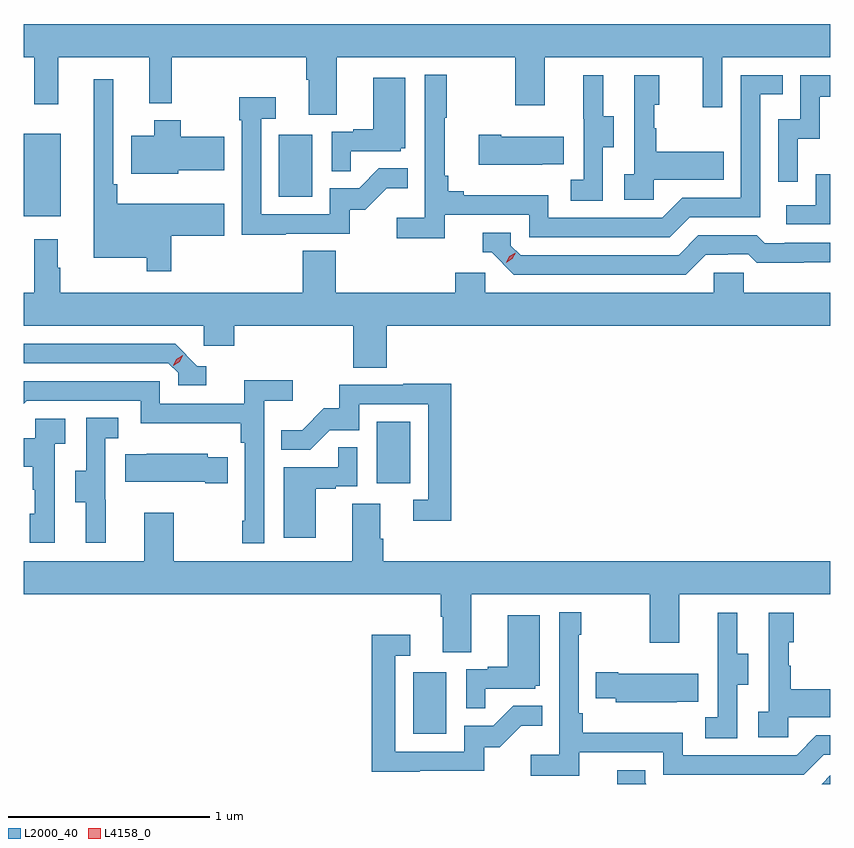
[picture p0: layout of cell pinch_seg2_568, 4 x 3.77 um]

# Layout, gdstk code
import gdstk
lib = gdstk.Library(unit=1e-6, precision=1e-09)
def R(c, l, rs):  # rectangles x0, y0, x1, y1
    for r in rs: c.add(gdstk.rectangle(r[:2], r[2:], *l))
def P(c, l, *ps):  # polygons
    for p in ps: c.add(gdstk.Polygon(p, *l))
L2000_40 = (2000, 40)
L4158_0 = (4158, 0)

pinch_seg2_568 = lib.new_cell('pinch_seg2_568')
R(pinch_seg2_568, L2000_40, [(1130.132,621.636,1130.296,621.943), (1129.952,622.878,1130.116,623.185), (1128.2,624.203,1128.385,624.613), (1129.466,624.3,1129.63,624.607)])
P(pinch_seg2_568, L2000_40, [(1129.753,624.992),(1130.638,624.992),(1130.638,624.753),(1130.785,624.753),(1130.785,624.992),(1131.566,624.992),(1131.566,624.744),(1131.663,624.744),(1131.663,624.992),(1132.2,624.992),(1132.2,625.156),(1128.2,625.156),(1128.2,624.992),(1128.253,624.992),(1128.253,624.759),(1128.371,624.759),(1128.371,624.992),(1128.824,624.992),(1128.824,624.764),(1128.934,624.764),(1128.934,624.992),(1129.601,624.992),(1129.601,624.88),(1129.613,624.88),(1129.613,624.706),(1129.753,624.706)],
  [(1130.288,624.21),(1130.706,624.21),(1130.706,624.099),(1131.403,624.099),(1131.502,624.198),(1131.852,624.198),(1131.852,624.807),(1131.965,624.807),(1131.965,624.903),(1131.756,624.903),(1131.756,624.294),(1131.465,624.294),(1131.366,624.195),(1130.802,624.195),(1130.802,624.307),(1130.383,624.307),(1130.383,624.326),(1130.306,624.326),(1130.306,624.403),(1130.287,624.403),(1130.287,624.691),(1130.299,624.691),(1130.299,624.904),(1130.19,624.904),(1130.19,624.196),(1130.049,624.196),(1130.049,624.094),(1130.288,624.094)],
  [(1132.038,624.587),(1132.148,624.587),(1132.148,624.795),(1132.2,624.795),(1132.2,624.903),(1132.05,624.903),(1132.05,624.684),(1131.942,624.684),(1131.942,624.375),(1132.038,624.375)],
  [(1131.072,624.544),(1131.127,624.544),(1131.127,624.699),(1131.073,624.699),(1131.073,624.901),(1130.975,624.901),(1130.975,624.687),(1130.976,624.687),(1130.976,624.383),(1130.913,624.383),(1130.913,624.28),(1131.072,624.28)],
  [(1131.324,624.383),(1131.671,624.383),(1131.671,624.523),(1131.337,624.523),(1131.337,624.638),(1131.327,624.638),(1131.327,624.756),(1131.352,624.756),(1131.352,624.901),(1131.228,624.901),(1131.228,624.41),(1131.177,624.41),(1131.177,624.285),(1131.324,624.285)],
  [(1129.823,624.525),(1130.07,624.525),(1130.07,624.54),(1130.092,624.54),(1130.092,624.889),(1129.934,624.889),(1129.934,624.634),(1129.835,624.634),(1129.835,624.621),(1129.728,624.621),(1129.728,624.427),(1129.823,624.427)],
  [(1128.931,624.107),(1129.195,624.107),(1129.195,624.265),(1128.665,624.265),(1128.665,624.361),(1128.645,624.361),(1128.645,624.883),(1128.548,624.883),(1128.548,623.996),(1128.81,623.996),(1128.81,623.931),(1128.931,623.931)],
  [(1129.499,624.117),(1129.818,624.117),(1129.818,624.234),(1129.894,624.234),(1130.001,624.341),(1130.105,624.341),(1130.105,624.44),(1129.961,624.44),(1129.863,624.342),(1129.719,624.342),(1129.719,624.213),(1129.377,624.213),(1129.377,624.687),(1129.45,624.687),(1129.45,624.793),(1129.269,624.793),(1129.269,624.68),(1129.281,624.68),(1129.281,624.112),(1129.499,624.112)],
  [(1128.966,624.431),(1129.195,624.431),(1129.195,624.597),(1128.978,624.597),(1128.978,624.679),(1128.848,624.679),(1128.848,624.601),(1128.734,624.601),(1128.734,624.413),(1128.966,624.413)],
  [(1130.771,624.461),(1130.879,624.461),(1130.879,624.598),(1130.569,624.598),(1130.569,624.606),(1130.457,624.606),(1130.457,624.458),(1130.771,624.458)],
  [(1132.2,624.412),(1132.128,624.412),(1132.128,624.258),(1131.981,624.258),(1131.981,624.162),(1132.2,624.162)],
  [(1131.583,624.012),(1131.69,624.012),(1131.69,624.015),(1131.793,624.015),(1131.835,623.973),(1132.068,623.973),(1132.068,623.975),(1132.2,623.975),(1132.2,624.072),(1131.973,624.072),(1131.973,624.069),(1131.874,624.069),(1131.835,624.108),(1131.546,624.108),(1131.447,624.009),(1130.664,624.009),(1130.616,624.057),(1130.616,624.12),(1130.477,624.12),(1130.477,624.024),(1130.52,624.024),(1130.631,623.913),(1131.484,623.913)],
  [(1130,623.66),(1132.2,623.66),(1132.2,623.824),(1131.771,623.824),(1131.771,623.922),(1131.621,623.922),(1131.621,623.824),(1130.49,623.824),(1130.49,623.922),(1130.339,623.922),(1130.339,623.824),(1129.748,623.824),(1129.748,624.032),(1129.583,624.032),(1129.583,623.824),(1128.382,623.824),(1128.382,623.948),(1128.37,623.948),(1128.37,624.088),(1128.253,624.088),(1128.253,623.824),(1128.2,623.824),(1128.2,623.66),(1129.092,623.66),(1129.092,623.562),(1129.244,623.562),(1129.244,623.66),(1129.835,623.66),(1129.835,623.452),(1130,623.452)],
  [(1129.105,623.46),(1129.062,623.46),(1128.951,623.571),(1128.2,623.571),(1128.2,623.475),(1128.918,623.475),(1128.966,623.427),(1128.966,623.364),(1129.105,623.364)],
  [(1129.392,623.288),(1129.534,623.288),(1129.534,623.39),(1129.295,623.39),(1129.295,623.274),(1128.876,623.274),(1128.876,623.385),(1128.2,623.385),(1128.2,623.273),(1128.216,623.289),(1128.78,623.289),(1128.78,623.177),(1129.276,623.177),(1129.276,623.081),(1129.296,623.081),(1129.296,622.693),(1129.284,622.693),(1129.284,622.581),(1129.392,622.581)],
  [(1130.321,623.372),(1130.083,623.372),(1130.083,623.367),(1129.765,623.367),(1129.765,623.25),(1129.688,623.25),(1129.581,623.143),(1129.477,623.143),(1129.477,623.044),(1129.621,623.044),(1129.719,623.142),(1129.863,623.142),(1129.863,623.271),(1130.205,623.271),(1130.205,622.797),(1130.133,622.797),(1130.133,622.692),(1130.321,622.692)],
  [(1128.608,622.797),(1128.606,622.797),(1128.606,623.101),(1128.67,623.101),(1128.67,623.204),(1128.51,623.204),(1128.51,622.941),(1128.455,622.941),(1128.455,622.786),(1128.509,622.786),(1128.509,622.584),(1128.608,622.584)],
  [(1128.354,623.075),(1128.406,623.075),(1128.406,623.199),(1128.258,623.199),(1128.258,623.101),(1128.2,623.101),(1128.2,622.961),(1128.246,622.961),(1128.246,622.847),(1128.256,622.847),(1128.256,622.728),(1128.23,622.728),(1128.23,622.584),(1128.354,622.584)],
  [(1129.648,622.851),(1129.748,622.851),(1129.748,622.863),(1129.854,622.863),(1129.854,623.057),(1129.759,623.057),(1129.759,622.959),(1129.49,622.959),(1129.49,622.608),(1129.648,622.608)],
  [(1129.211,623.008),(1129.113,623.008),(1129.113,623.026),(1128.811,623.026),(1128.811,623.023),(1128.703,623.023),(1128.703,622.886),(1129.1,622.886),(1129.1,622.879),(1129.211,622.879)],
  [(1130.419,622.328),(1131.304,622.328),(1131.304,622.089),(1131.451,622.089),(1131.451,622.328),(1132.2,622.328),(1132.2,622.492),(1129.982,622.492),(1129.982,622.604),(1129.969,622.604),(1129.969,622.778),(1129.829,622.778),(1129.829,622.492),(1128.945,622.492),(1128.945,622.732),(1128.797,622.732),(1128.797,622.492),(1128.2,622.492),(1128.2,622.328),(1130.267,622.328),(1130.267,622.216),(1130.279,622.216),(1130.279,622.042),(1130.419,622.042)],
  [(1130.954,621.546),(1131.372,621.546),(1131.372,621.435),(1132.069,621.435),(1132.168,621.534),(1132.2,621.534),(1132.2,621.63),(1132.131,621.63),(1132.032,621.531),(1131.468,621.531),(1131.468,621.643),(1130.972,621.643),(1130.972,621.739),(1130.952,621.739),(1130.952,622.127),(1130.965,622.127),(1130.965,622.24),(1130.856,622.24),(1130.856,621.532),(1130.715,621.532),(1130.715,621.43),(1130.954,621.43)],
  [(1131.738,621.88),(1131.793,621.88),(1131.793,622.035),(1131.739,622.035),(1131.739,622.237),(1131.641,622.237),(1131.641,622.023),(1131.642,622.023),(1131.642,621.719),(1131.579,621.719),(1131.579,621.616),(1131.738,621.616)],
  [(1131.99,621.719),(1132.2,621.719),(1132.2,621.859),(1132.003,621.859),(1132.003,621.974),(1131.993,621.974),(1131.993,622.092),(1132.018,622.092),(1132.018,622.237),(1131.894,622.237),(1131.894,621.746),(1131.843,621.746),(1131.843,621.621),(1131.99,621.621)],
  [(1130.489,621.861),(1130.736,621.861),(1130.736,621.876),(1130.758,621.876),(1130.758,622.225),(1130.6,622.225),(1130.6,621.97),(1130.501,621.97),(1130.501,621.957),(1130.394,621.957),(1130.394,621.763),(1130.489,621.763)],
  [(1130.165,621.453),(1130.484,621.453),(1130.484,621.57),(1130.56,621.57),(1130.667,621.677),(1130.771,621.677),(1130.771,621.776),(1130.627,621.776),(1130.529,621.678),(1130.385,621.678),(1130.385,621.549),(1130.043,621.549),(1130.043,622.023),(1130.116,622.023),(1130.116,622.129),(1129.927,622.129),(1129.927,621.448),(1130.165,621.448)],
  [(1131.437,621.797),(1131.545,621.797),(1131.545,621.934),(1131.148,621.934),(1131.148,621.942),(1131.037,621.942),(1131.037,621.812),(1131.135,621.812),(1131.135,621.794),(1131.437,621.794)],
  [(1131.282,621.393),(1131.282,621.456),(1131.143,621.456),(1131.143,621.388),(1131.287,621.388)],
  [(1132.2,621.432),(1132.156,621.388),(1132.2,621.388)])
P(pinch_seg2_568, L4158_0, [(1128.942,623.461),(1128.942,623.461),(1128.958,623.494),(1128.988,623.514),(1128.988,623.514),(1128.988,623.514),(1128.973,623.481),(1128.942,623.461)],
  [(1130.592,623.972),(1130.592,623.972),(1130.609,624.004),(1130.64,624.023),(1130.64,624.023),(1130.64,624.023),(1130.623,623.991),(1130.592,623.972)])

lib.write_gds('pinch_seg2_568.gds')
